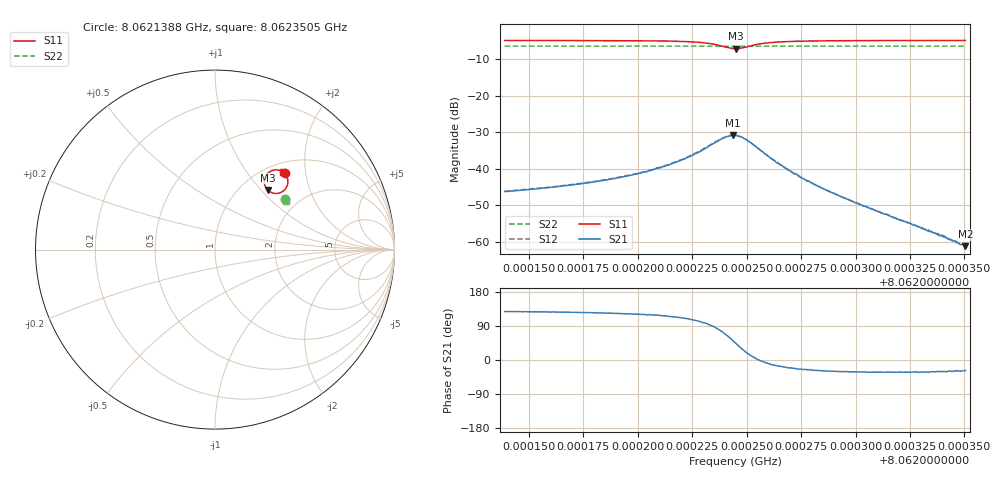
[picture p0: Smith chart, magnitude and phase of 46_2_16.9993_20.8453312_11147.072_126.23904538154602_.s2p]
#  HZ  S  RI  R  50.00
! Rohde & Schwarz Vector Network Analyzer
! Rohde-Schwarz,ZNB20-2Port,1311601062101988,3.16
! Created: UTC 3/20/2024, 10:54:06 PM
! freq[Hz]  re:S11  im:S11  re:S21  im:S21  re:S12  im:S12  re:S22  im:S22
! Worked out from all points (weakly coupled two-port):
!   401 points, 8.0621388 GHz to 8.0623505 GHz, reference 50 ohm
!   highest |S21| = -30.83 dB at 8.0622436 GHz (marker M1); lowest = -61.2 dB at 8.0623505 GHz (marker M2)
!   lowest |S11| = -7.1 dB at 8.0622452 GHz (marker M3), VSWR 2.59, Z = 66 + j54.5 ohm
!   |S11| at or under -10 dB: nowhere
!   |S22| runs from -6.4 to -6.3 dB; largest |S21 - S12| = 0.0024
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8.06213879e9  0.3876 0.4249  -0.00302 0.00385  -0.00279 0.00407  0.3904 0.2827
8.06215996e9  0.3908 0.4212  -0.00333 0.00448  -0.00308 0.00474  0.3911 0.2815
8.06217425e9  0.3934 0.4177  -0.00363 0.00511  -0.00335 0.00541  0.3916 0.2806
8.06219435e9  0.3982 0.41  -0.0042 0.00669  -0.00387 0.00704  0.3923 0.2792
8.0622097e9  0.4031 0.3985  -0.00482 0.00903  -0.00425 0.00949  0.3927 0.278
8.06222081e9  0.4062 0.3818  -0.00471 0.0127  -0.00405 0.0131  0.393 0.2768
8.06222822e9  0.404 0.3614  -0.00361 0.0167  -0.00242 0.0173  0.3927 0.2756
8.06223245e9  0.3964 0.3441  -0.00142 0.0203  1.37e-05 0.0206  0.3922 0.2748
8.06223986e9  0.3508 0.3136  0.00932 0.0252  0.0113 0.0248  0.3901 0.2739
8.06224356e9  0.3101 0.3201  0.0178 0.0225  0.0196 0.0212  0.3887 0.2747
8.06224462e9  0.299 0.3274  0.0199 0.0207  0.0217 0.0191  0.3883 0.2751
8.06224515e9  0.2941 0.3317  0.0209 0.0196  0.0225 0.018  0.3883 0.2752
8.06224727e9  0.2798 0.3529  0.0233 0.0146  0.0243 0.0129  0.3881 0.2764
8.06225044e9  0.2751 0.3864  0.0233 0.00736  0.0237 0.00562  0.3886 0.2776
8.06225732e9  0.2987 0.4296  0.0171 -0.00118  0.0169 -0.00225  0.3906 0.2788
8.0622679e9  0.332 0.4439  0.00963 -0.00323  0.00939 -0.00399  0.3923 0.2783
8.06228008e9  0.351 0.4436  0.00568 -0.00287  0.0055 -0.00322  0.3935 0.2776
8.06229542e9  0.363 0.4404  0.00338 -0.002  0.00327 -0.0022  0.3944 0.2763
8.06231553e9  0.3714 0.4367  0.00194 -0.0012  0.00186 -0.00133  0.3953 0.2751
8.06234093e9  0.3774 0.4334  0.00101 -0.000584  0.00098 -0.000645  0.3962 0.2738
8.06234781e9  0.3785 0.4325  0.000814 -0.000459  0.000795 -0.000513  0.3965 0.2734
8.06235045e9  0.3791 0.4321  0.000773 -0.000405  0.000757 -0.000438  0.3966 0.2734
